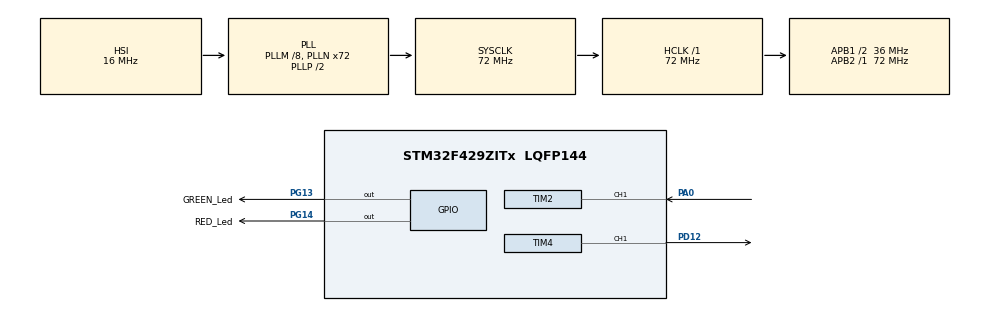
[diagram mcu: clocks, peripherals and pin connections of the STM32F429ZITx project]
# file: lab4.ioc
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Mcu.Family=STM32F4
Mcu.Name=STM32F429ZITx
Mcu.Package=LQFP144
NVIC.PriorityGroup=NVIC_PRIORITYGROUP_4
NVIC.TIM2_IRQn=true\:0\:0\:false\:false\:true\:true\:true\:true
NVIC.TIM4_IRQn=true\:0\:0\:false\:false\:true\:true\:true\:true
PA0/WKUP.Signal=S_TIM2_CH1_ETR
PD12.Signal=S_TIM4_CH1
PG13.GPIO_Label=GREEN_Led
PG13.Signal=GPIO_Output
PG14.GPIO_Label=RED_Led
PG14.Signal=GPIO_Output
ProjectManager.HeapSize=0x200
ProjectManager.StackSize=0x400
ProjectManager.TargetToolchain=STM32CubeIDE
RCC.48MHZClocksFreq_Value=48000000
RCC.AHBFreq_Value=72000000
RCC.APB1CLKDivider=RCC_HCLK_DIV2
RCC.APB1Freq_Value=36000000
RCC.APB1TimFreq_Value=72000000
RCC.APB2Freq_Value=72000000
RCC.APB2TimFreq_Value=72000000
RCC.CortexFreq_Value=72000000
RCC.HCLKFreq_Value=72000000
RCC.HSE_VALUE=8000000
RCC.HSI_VALUE=16000000
RCC.LSE_VALUE=32768
RCC.PLLM=8
RCC.PLLN=72
RCC.PLLQ=3
RCC.PLLSAIN=50
RCC.SYSCLKFreq_VALUE=72000000
RCC.SYSCLKSource=RCC_SYSCLKSOURCE_PLLCLK
RCC.VCOOutputFreq_Value=144000000
SH.S_TIM2_CH1_ETR.0=TIM2_CH1,Input_Capture1_from_TI1
SH.S_TIM4_CH1.0=TIM4_CH1,PWM Generation1 CH1
TIM2.Channel-Input_Capture1_from_TI1=TIM_CHANNEL_1
TIM2.ICPolarity_CH1=TIM_INPUTCHANNELPOLARITY_FALLING
TIM2.Period=0xFFFFFFFF 
TIM2.Prescaler=8399
TIM4.Channel-PWM\ Generation1\ CH1=TIM_CHANNEL_1
TIM4.Period=99
TIM4.Prescaler=8399
VP_TIM2_VS_ClockSourceINT.Mode=Internal
VP_TIM4_VS_ClockSourceINT.Mode=Internal
board=STM32F429I-DISC1

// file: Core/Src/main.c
/* USER CODE BEGIN Header */
/**
  ******************************************************************************
  * @file           : main.c
  * @brief          : Main program body
  ******************************************************************************
  * @attention
  *
  * Copyright (c) 2026 STMicroelectronics.
  * All rights reserved.
  *
  * This software is licensed under terms that can be found in the LICENSE file
  * in the root directory of this software component.
  * If no LICENSE file comes with this software, it is provided AS-IS.
  *
  ******************************************************************************
  */
/* USER CODE END Header */
#include "main.h"

TIM_HandleTypeDef htim2;
TIM_HandleTypeDef htim4;

/* USER CODE BEGIN PV */
// 1 užduoties kintamieji
uint32_t pg13_timer = 0;
uint32_t pg14_timer = 0;

// 2 užduoties kintamieji
uint32_t cap1 = 0, cap2 = 0;
uint8_t capture_idx = 0;
float diff_time = 0;
uint8_t is_measuring = 0;
uint32_t blink_timer = 0;

// Papildomos dalies kintamasis
uint32_t adc_val = 0;
/* USER CODE END PV */

void SystemClock_Config(void);
static void MX_GPIO_Init(void);
static void MX_TIM2_Init(void);
static void MX_TIM4_Init(void);

int main(void)
{

  /* MCU Configuration--------------------------------------------------------*/

  /* Reset of all peripherals, Initializes the Flash interface and the Systick. */
  HAL_Init();

  /* Configure the system clock */
  SystemClock_Config();

  /* Initialize all configured peripherals */
  MX_GPIO_Init();
  MX_TIM2_Init();
  MX_TIM4_Init();
  /* USER CODE BEGIN 2 */
  // Paleidžiam TIM4 (mirksėjimui)
  HAL_TIM_Base_Start_IT(&htim4);

  // Paleidžiam TIM2 (mygtuko paspaudimo laiko matavimui)
  // SVARBU: naudok tik jei CubeMX konfigūravai TIM2!
  HAL_TIM_IC_Start_IT(&htim2, TIM_CHANNEL_1);

  // ADC paleidimas (tik jei dabar naudoji papildomą dalį ir PA0 yra ADC režime)
  // HAL_ADC_Start(&hadc1);
  /* USER CODE END 2 */

  /* Infinite loop */
  while (1)
  {

  }
}

void SystemClock_Config(void)
{
  RCC_OscInitTypeDef RCC_OscInitStruct = {0};
  RCC_ClkInitTypeDef RCC_ClkInitStruct = {0};

  /** Configure the main internal regulator output voltage
  */
  __HAL_RCC_PWR_CLK_ENABLE();
  __HAL_PWR_VOLTAGESCALING_CONFIG(PWR_REGULATOR_VOLTAGE_SCALE3);

  /** Initializes the RCC Oscillators according to the specified parameters
  * in the RCC_OscInitTypeDef structure.
  */
  RCC_OscInitStruct.OscillatorType = RCC_OSCILLATORTYPE_HSI;
  RCC_OscInitStruct.HSIState = RCC_HSI_ON;
  RCC_OscInitStruct.HSICalibrationValue = RCC_HSICALIBRATION_DEFAULT;
  RCC_OscInitStruct.PLL.PLLState = RCC_PLL_ON;
  RCC_OscInitStruct.PLL.PLLSource = RCC_PLLSOURCE_HSI;
  RCC_OscInitStruct.PLL.PLLM = 8;
  RCC_OscInitStruct.PLL.PLLN = 72;
  RCC_OscInitStruct.PLL.PLLP = RCC_PLLP_DIV2;
  RCC_OscInitStruct.PLL.PLLQ = 3;
  if (HAL_RCC_OscConfig(&RCC_OscInitStruct) != HAL_OK)
  {
    Error_Handler();
  }

  /** Initializes the CPU, AHB and APB buses clocks
  */
  RCC_ClkInitStruct.ClockType = RCC_CLOCKTYPE_HCLK|RCC_CLOCKTYPE_SYSCLK
                              |RCC_CLOCKTYPE_PCLK1|RCC_CLOCKTYPE_PCLK2;
  RCC_ClkInitStruct.SYSCLKSource = RCC_SYSCLKSOURCE_PLLCLK;
  RCC_ClkInitStruct.AHBCLKDivider = RCC_SYSCLK_DIV1;
  RCC_ClkInitStruct.APB1CLKDivider = RCC_HCLK_DIV2;
  RCC_ClkInitStruct.APB2CLKDivider = RCC_HCLK_DIV1;

  if (HAL_RCC_ClockConfig(&RCC_ClkInitStruct, FLASH_LATENCY_2) != HAL_OK)
  {
    Error_Handler();
  }
}

static void MX_TIM2_Init(void)
{

  TIM_ClockConfigTypeDef sClockSourceConfig = {0};
  TIM_MasterConfigTypeDef sMasterConfig = {0};
  TIM_IC_InitTypeDef sConfigIC = {0};

  htim2.Instance = TIM2;
  htim2.Init.Prescaler = 8399;
  htim2.Init.CounterMode = TIM_COUNTERMODE_UP;
  htim2.Init.Period = 0xFFFFFFFF ;
  htim2.Init.ClockDivision = TIM_CLOCKDIVISION_DIV1;
  htim2.Init.AutoReloadPreload = TIM_AUTORELOAD_PRELOAD_DISABLE;
  if (HAL_TIM_Base_Init(&htim2) != HAL_OK)
  {
    Error_Handler();
  }
  sClockSourceConfig.ClockSource = TIM_CLOCKSOURCE_INTERNAL;
  if (HAL_TIM_ConfigClockSource(&htim2, &sClockSourceConfig) != HAL_OK)
  {
    Error_Handler();
  }
  if (HAL_TIM_IC_Init(&htim2) != HAL_OK)
  {
    Error_Handler();
  }
  sMasterConfig.MasterOutputTrigger = TIM_TRGO_RESET;
  sMasterConfig.MasterSlaveMode = TIM_MASTERSLAVEMODE_DISABLE;
  if (HAL_TIMEx_MasterConfigSynchronization(&htim2, &sMasterConfig) != HAL_OK)
  {
    Error_Handler();
  }
  sConfigIC.ICPolarity = TIM_INPUTCHANNELPOLARITY_FALLING;
  sConfigIC.ICSelection = TIM_ICSELECTION_DIRECTTI;
  sConfigIC.ICPrescaler = TIM_ICPSC_DIV1;
  sConfigIC.ICFilter = 0;
  if (HAL_TIM_IC_ConfigChannel(&htim2, &sConfigIC, TIM_CHANNEL_1) != HAL_OK)
  {
    Error_Handler();
  }

}

static void MX_TIM4_Init(void)
{

  TIM_ClockConfigTypeDef sClockSourceConfig = {0};
  TIM_MasterConfigTypeDef sMasterConfig = {0};
  TIM_OC_InitTypeDef sConfigOC = {0};

  htim4.Instance = TIM4;
  htim4.Init.Prescaler = 8399;
  htim4.Init.CounterMode = TIM_COUNTERMODE_UP;
  htim4.Init.Period = 99;
  htim4.Init.ClockDivision = TIM_CLOCKDIVISION_DIV1;
  htim4.Init.AutoReloadPreload = TIM_AUTORELOAD_PRELOAD_DISABLE;
  if (HAL_TIM_Base_Init(&htim4) != HAL_OK)
  {
    Error_Handler();
  }
  sClockSourceConfig.ClockSource = TIM_CLOCKSOURCE_INTERNAL;
  if (HAL_TIM_ConfigClockSource(&htim4, &sClockSourceConfig) != HAL_OK)
  {
    Error_Handler();
  }
  if (HAL_TIM_PWM_Init(&htim4) != HAL_OK)
  {
    Error_Handler();
  }
  sMasterConfig.MasterOutputTrigger = TIM_TRGO_RESET;
  sMasterConfig.MasterSlaveMode = TIM_MASTERSLAVEMODE_DISABLE;
  if (HAL_TIMEx_MasterConfigSynchronization(&htim4, &sMasterConfig) != HAL_OK)
  {
    Error_Handler();
  }
  sConfigOC.OCMode = TIM_OCMODE_PWM1;
  sConfigOC.Pulse = 0;
  sConfigOC.OCPolarity = TIM_OCPOLARITY_HIGH;
  sConfigOC.OCFastMode = TIM_OCFAST_DISABLE;
  if (HAL_TIM_PWM_ConfigChannel(&htim4, &sConfigOC, TIM_CHANNEL_1) != HAL_OK)
  {
    Error_Handler();
  }
  HAL_TIM_MspPostInit(&htim4);

}

static void MX_GPIO_Init(void)
{
  GPIO_InitTypeDef GPIO_InitStruct = {0};

  /* GPIO Ports Clock Enable */
  __HAL_RCC_GPIOA_CLK_ENABLE();
  __HAL_RCC_GPIOD_CLK_ENABLE();
  __HAL_RCC_GPIOG_CLK_ENABLE();

  /*Configure GPIO pin Output Level */
  HAL_GPIO_WritePin(GPIOG, GREEN_Led_Pin|RED_Led_Pin, GPIO_PIN_RESET);

  /*Configure GPIO pins : GREEN_Led_Pin RED_Led_Pin */
  GPIO_InitStruct.Pin = GREEN_Led_Pin|RED_Led_Pin;
  GPIO_InitStruct.Mode = GPIO_MODE_OUTPUT_PP;
  GPIO_InitStruct.Pull = GPIO_NOPULL;
  GPIO_InitStruct.Speed = GPIO_SPEED_FREQ_LOW;
  HAL_GPIO_Init(GPIOG, &GPIO_InitStruct);

}

/* USER CODE BEGIN 4 */
/* 1 UŽDUOTIS: TIM4 kas 10ms -------------------------------------------------------------------------------------------------------------------*/
void HAL_TIM_PeriodElapsedCallback(TIM_HandleTypeDef *htim) {
    if (htim->Instance == TIM4) {

        // Šita dalis užkomentuota, kad 1 užduotis neveiktų
//        pg13_timer++;
//        if (pg13_timer >= 200) {
//            HAL_GPIO_TogglePin(GPIOG, GPIO_PIN_13);
//            pg13_timer = 0;
//        }
//        pg14_timer++;
//        if (pg14_timer < 350) HAL_GPIO_WritePin(GPIOG, GPIO_PIN_14, GPIO_PIN_SET);
//        else HAL_GPIO_WritePin(GPIOG, GPIO_PIN_14, GPIO_PIN_RESET);
//        if (pg14_timer >= 400) pg14_timer = 0;

        // PALIEKAM TIK INDIKACIJĄ MATAVIMO METU (2 užduoties dalis)
        // Kol matuojame (paspaudus 1 kartą), raudona lemputė trumpai mirkteli kas 1s
    	if (is_measuring == 1) {
    	            blink_timer++;

    	             //Kas 1 sekundę (jei TIM4 pertrauktis kas 10ms, tai 100 žingsnių = 1s)
    	            // Padarome trumpą mirktelėjimą (pvz., 50ms)
    	            if (blink_timer % 100 < 5) {
    	                HAL_GPIO_WritePin(GPIOG, GPIO_PIN_14, GPIO_PIN_SET);   // Įjungiam raudoną
    	            } else {
    	                HAL_GPIO_WritePin(GPIOG, GPIO_PIN_14, GPIO_PIN_RESET); // Išjungiam raudoną
    	       }
    	  }
     }
}

/* 2 UŽDUOTIS: TIM2 Input Capture (PA0) */
void HAL_TIM_IC_CaptureCallback(TIM_HandleTypeDef *htim) {
    if (htim->Instance == TIM2) {

        if (capture_idx == 0) {
            // --- PIRMAS PASPAUDIMAS: Matavimo pradžia ---
            cap1 = HAL_TIM_ReadCapturedValue(htim, TIM_CHANNEL_1);
            capture_idx = 1;
            is_measuring = 1;  // Įjungiam matavimo režimą (TIM4 pradės mirkinti PG14)
            blink_timer = 0;   // Nunulinam laikmatį, kad mirksėjimas prasidėtų iškart

            // Išjungiam abi lemputes prieš pradedant
            HAL_GPIO_WritePin(GPIOG, GPIO_PIN_13 | GPIO_PIN_14, GPIO_PIN_RESET);
        }
        else {
            // --- ANTRAS PASPAUDIMAS: Matavimo pabaiga ---
            cap2 = HAL_TIM_ReadCapturedValue(htim, TIM_CHANNEL_1);
            is_measuring = 0;  // Išjungiam matavimo režimą (mirksėjimas sustos)
            capture_idx = 0;

            // Skaičiuojam sekundes (72MHz / 8400 prescaler = ~8571 Hz dažnis)
            diff_time = (float)(cap2 - cap1) / 8571.0f;

            // Cikliškumas 12s ribose
            while (diff_time > 12.0f) diff_time -= 12.0f;

            // Rezultato rodymas pagal lentelę
            HAL_GPIO_WritePin(GPIOG, GPIO_PIN_13 | GPIO_PIN_14, GPIO_PIN_RESET);

            if (diff_time > 0 && diff_time <= 4) {
                HAL_GPIO_WritePin(GPIOG, GPIO_PIN_13, GPIO_PIN_SET); // Žalias
            }
            else if (diff_time > 4 && diff_time <= 8) {
                HAL_GPIO_WritePin(GPIOG, GPIO_PIN_14, GPIO_PIN_SET); // Raudonas
            }
            else if (diff_time > 8 && diff_time <= 12) {
                HAL_GPIO_WritePin(GPIOG, GPIO_PIN_13 | GPIO_PIN_14, GPIO_PIN_SET); // Abu
            }
        }
    }
}
/* USER CODE END 4 */

void Error_Handler(void)
{
  __disable_irq();
  while (1)
  {
  }
}
